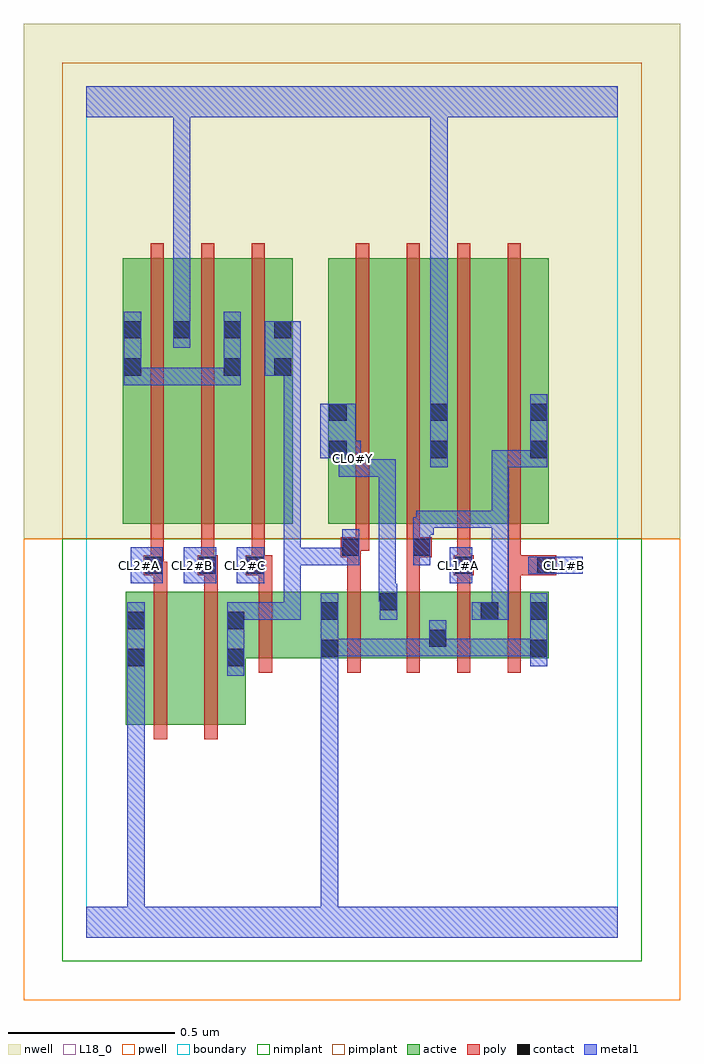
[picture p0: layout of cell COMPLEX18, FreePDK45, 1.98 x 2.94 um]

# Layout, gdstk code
import gdstk
lib = gdstk.Library(unit=1e-6, precision=1e-09)
def R(c, l, rs):  # rectangles x0, y0, x1, y1
    for r in rs: c.add(gdstk.rectangle(r[:2], r[2:], *l))
def A(c, l, x, y, w, h, nx, ny, dx, dy):  # array of equal rectangles
    R(c, l, [(x+i*dx, y+j*dy, x+i*dx+w, y+j*dy+h) for i in range(nx) for j in range(ny)])
active = (1, 0)
pwell = (2, 0)
nwell = (3, 0)
nimplant = (4, 0)
pimplant = (5, 0)
poly = (9, 0)
contact = (10, 0)
metal1 = (11, 0)
L18_0 = (18, 0)
boundary = (235, 0)

complex18 = lib.new_cell('COMPLEX18')
R(complex18, active, [(0.12,0.64,0.3,1.04), (0.3,0.64,0.48,1.04), (0.42,0.64,0.48,1.04), (0.12,0.756,0.18,1.04), (0.42,0.84,0.762,1.04), (0.702,0.84,0.94,1.04), (0.702,0.84,0.762,1.012), (0.88,0.84,1.088,1.04), (1.028,0.84,1.088,1.04), (1.028,0.84,1.244,1.04), (1.184,0.84,1.244,1.04), (1.184,0.84,1.392,1.04), (1.332,0.84,1.392,1.04), (0.88,0.956,0.94,1.04), (0.11,1.244,0.17,2.044), (0.11,1.244,0.318,2.044), (0.258,1.244,0.47,2.044), (0.41,1.244,0.622,2.044), (0.562,1.244,0.622,2.044), (0.728,1.244,0.788,2.044), (0.728,1.244,0.908,2.044), (0.908,1.244,1.092,2.044), (1.032,1.244,1.212,2.044), (1.212,1.244,1.392,2.044), (1.332,1.244,1.392,2.044), (1.032,1.366,1.092,2.044), (0.258,1.686,0.318,2.044), (0.41,1.686,0.47,2.044)])
R(complex18, pwell, [(-0.188,-0.188,1.788,1.2)])
R(complex18, nwell, [(-0.188,1.2,1.788,2.748)])
R(complex18, nimplant, [(-0.072,-0.072,1.672,1.2)])
R(complex18, pimplant, [(-0.072,1.2,1.672,2.632)])
A(complex18, poly, 0.964, 0.796, 0.04, 0.288, 3, 1, 0.152, 0)
A(complex18, poly, 0.194, 1.11, 0.04, 0.13, 3, 1, 0.152, 0)
A(complex18, poly, 0.194, 1.2, 0.04, 0.888, 3, 1, 0.152, 0)
A(complex18, poly, 0.812, 1.2, 0.04, 0.888, 4, 1, 0.152, 0)
R(complex18, poly, [(0.204,0.596,0.244,1.084), (0.356,0.596,0.396,1.084), (0.52,0.796,0.56,1.084), (0.786,0.796,0.826,1.084), (0.204,1.044,0.244,1.13), (0.356,1.044,0.396,1.13), (0.52,1.044,0.56,1.13), (0.786,1.044,0.826,1.184), (0.964,1.044,1.004,1.184), (1.116,1.044,1.156,1.13), (1.268,1.044,1.308,1.13), (0.174,1.09,0.234,1.15), (0.194,1.09,0.234,1.13), (0.194,1.09,0.244,1.13), (0.336,1.09,0.396,1.15), (0.48,1.09,0.56,1.15), (1.106,1.09,1.166,1.15), (1.268,1.09,1.414,1.15), (0.346,1.11,0.386,1.15), (0.346,1.11,0.386,1.15), (0.498,1.11,0.538,1.15), (0.498,1.11,0.538,1.15), (1.116,1.11,1.156,1.24), (1.116,1.11,1.156,1.15), (1.116,1.11,1.156,1.15), (1.268,1.11,1.308,1.24), (1.268,1.11,1.308,1.15), (1.268,1.11,1.308,1.15), (0.766,1.144,0.826,1.204), (0.964,1.144,1.004,1.184), (0.964,1.144,1.004,1.184), (0.964,1.144,1.04,1.204), (0.786,1.164,0.826,1.204), (0.786,1.164,0.852,1.204), (0.812,1.164,0.852,1.24), (0.964,1.164,1.004,1.24)])
A(complex18, contact, 0.262, 1.802, 0.052, 0.052, 3, 1, 0.152, 0)
R(complex18, contact, [(0.124,0.816,0.176,0.868), (0.424,0.816,0.476,0.868), (0.706,0.844,0.758,0.896), (1.336,0.844,1.388,0.896), (1.032,0.874,1.084,0.926), (0.124,0.928,0.176,0.98), (0.424,0.928,0.476,0.98), (0.706,0.956,0.758,1.008), (1.188,0.956,1.24,1.008), (1.336,0.956,1.388,1.008), (0.884,0.984,0.936,1.036), (0.178,1.094,0.23,1.146), (0.34,1.094,0.392,1.146), (0.484,1.094,0.536,1.146), (1.11,1.094,1.162,1.146), (1.358,1.094,1.41,1.146), (0.77,1.148,0.822,1.2), (0.984,1.148,1.036,1.2), (0.732,1.442,0.784,1.494), (1.036,1.442,1.088,1.494), (1.336,1.442,1.388,1.494), (0.732,1.554,0.784,1.606), (1.036,1.554,1.088,1.606), (1.336,1.554,1.388,1.606), (0.114,1.69,0.166,1.742), (0.414,1.69,0.466,1.742), (0.566,1.69,0.618,1.742), (0.114,1.802,0.166,1.854)])
R(complex18, metal1, [(0,0,1.6,0.092), (0.124,0.04,0.176,0.092), (0.124,0.04,0.176,0.092), (0.124,0.04,0.176,0.092), (0.124,0.04,0.176,0.092), (0.124,0.04,0.176,0.092), (0.124,0.04,0.176,0.092), (0.124,0.04,0.176,0.092), (0.124,0.04,0.176,0.092), (0.124,0.04,0.176,0.092), (0.124,0.04,0.176,0.092), (0.124,0.04,0.176,0.84), (0.706,0.04,0.758,0.092), (0.706,0.04,0.758,0.092), (0.706,0.04,0.758,0.092), (0.706,0.04,0.758,0.092), (0.706,0.04,0.758,0.868), (0.124,0.788,0.176,0.84), (0.124,0.788,0.176,0.84), (0.124,0.788,0.176,1.008), (0.424,0.788,0.476,1.008), (0.706,0.816,0.758,0.868), (0.706,0.816,0.758,0.868), (0.706,0.816,0.758,0.868), (0.706,0.816,0.758,0.868), (0.706,0.816,0.758,0.868), (0.706,0.816,0.758,0.868), (0.706,0.816,0.758,0.868), (0.706,0.816,0.758,0.868), (0.706,0.816,0.758,0.868), (0.706,0.816,0.758,0.868), (0.706,0.816,0.758,0.868), (0.706,0.816,0.758,0.868), (0.706,0.816,0.758,1.036), (1.336,0.816,1.388,1.036), (0.706,0.846,0.758,0.898), (0.706,0.846,0.758,0.898), (0.706,0.846,0.936,0.898), (0.884,0.846,0.936,0.898), (0.884,0.846,0.936,0.898), (0.884,0.846,0.936,0.898), (0.884,0.846,1.084,0.898), (1.032,0.846,1.194,0.898), (1.032,0.846,1.084,0.954), (1.142,0.846,1.194,0.898), (1.142,0.846,1.194,0.898), (1.142,0.846,1.194,0.898), (1.142,0.846,1.388,0.898), (1.336,0.846,1.388,0.898), (1.336,0.846,1.388,0.898), (0.424,0.956,0.646,1.008), (0.594,0.956,0.646,1.008), (0.594,0.956,0.646,1.008), (0.594,0.956,0.646,1.008), (0.594,0.956,0.646,1.172), (0.884,0.956,0.936,1.064), (1.16,0.956,1.272,1.008), (1.22,0.956,1.272,1.008), (1.22,0.956,1.272,1.008), (1.22,0.956,1.272,1.284), (0.88,1.012,0.932,1.438), (0.88,1.012,0.936,1.064), (0.884,1.012,0.936,1.064), (0.134,1.066,0.23,1.174), (0.294,1.066,0.392,1.174), (0.454,1.066,0.536,1.174), (1.094,1.066,1.162,1.174), (1.33,1.094,1.494,1.146), (0.594,1.12,0.646,1.172), (0.594,1.12,0.646,1.172), (0.594,1.12,0.646,1.172), (0.594,1.12,0.822,1.172), (0.594,1.12,0.646,1.742), (0.77,1.12,0.822,1.172), (0.77,1.12,0.822,1.172), (0.77,1.12,0.822,1.228), (0.984,1.12,1.036,1.264), (0.984,1.212,1.046,1.264), (0.994,1.212,1.046,1.284), (0.994,1.232,1.272,1.284), (1.22,1.232,1.272,1.284), (1.22,1.232,1.272,1.284), (1.22,1.232,1.272,1.284), (1.22,1.232,1.272,1.466), (0.76,1.386,0.826,1.494), (0.774,1.386,0.826,1.438), (0.774,1.386,0.826,1.438), (0.774,1.386,0.932,1.438), (0.88,1.386,0.932,1.438), (1.036,1.414,1.088,1.634), (1.22,1.414,1.272,1.466), (1.22,1.414,1.388,1.466), (1.336,1.414,1.388,1.466), (1.336,1.414,1.388,1.466), (1.336,1.414,1.388,1.634), (0.704,1.442,0.812,1.606), (0.76,1.442,0.812,1.494), (1.036,1.582,1.088,1.634), (1.036,1.582,1.088,1.634), (1.036,1.582,1.088,1.634), (1.036,1.582,1.088,1.634), (1.036,1.582,1.088,1.634), (1.036,1.582,1.088,1.634), (1.036,1.582,1.088,2.52), (0.114,1.662,0.166,1.714), (0.114,1.662,0.166,1.714), (0.114,1.662,0.166,1.882), (0.114,1.662,0.356,1.714), (0.304,1.662,0.356,1.714), (0.304,1.662,0.356,1.714), (0.304,1.662,0.356,1.714), (0.304,1.662,0.466,1.714), (0.414,1.662,0.466,1.882), (0.538,1.69,0.646,1.854), (0.262,1.774,0.314,1.882), (0.262,1.83,0.314,2.52), (0,2.468,1.6,2.56), (0.262,2.468,0.314,2.52), (0.262,2.468,0.314,2.52), (0.262,2.468,0.314,2.52), (0.262,2.468,0.314,2.52), (0.262,2.468,0.314,2.52), (0.262,2.468,0.314,2.52), (0.262,2.468,0.314,2.52), (0.262,2.468,0.314,2.52), (1.036,2.468,1.088,2.52), (1.036,2.468,1.088,2.52)])
A(complex18, L18_0, 0.134, 1.094, 0.052, 0.052, 3, 1, 0.16, 0)
R(complex18, L18_0, [(0,0,1.6,0.092), (0.124,0.04,0.176,0.092), (0.124,0.04,0.176,0.092), (0.124,0.04,0.176,0.092), (0.124,0.04,0.176,0.092), (0.124,0.04,0.176,0.092), (0.124,0.04,0.176,0.092), (0.124,0.04,0.176,0.092), (0.124,0.04,0.176,0.092), (0.124,0.04,0.176,0.092), (0.124,0.04,0.176,0.092), (0.124,0.04,0.176,0.84), (0.706,0.04,0.758,0.092), (0.706,0.04,0.758,0.092), (0.706,0.04,0.758,0.092), (0.706,0.04,0.758,0.092), (0.706,0.04,0.758,0.868), (0.124,0.788,0.176,0.84), (0.124,0.788,0.176,0.84), (0.124,0.788,0.176,1.008), (0.706,0.816,0.758,0.868), (0.706,0.816,0.758,0.868), (0.706,0.816,0.758,0.868), (0.706,0.816,0.758,0.868), (0.706,0.816,0.758,0.868), (0.706,0.816,0.758,0.868), (0.706,0.816,0.758,0.868), (0.706,0.816,0.758,0.868), (0.706,0.816,0.758,0.868), (0.706,0.816,0.758,0.868), (0.706,0.816,0.758,0.868), (0.706,0.816,0.758,0.868), (0.706,0.816,0.758,1.036), (1.336,0.816,1.388,1.036), (0.706,0.846,0.758,0.898), (0.706,0.846,0.758,0.898), (0.706,0.846,0.936,0.898), (0.884,0.846,0.936,0.898), (0.884,0.846,0.936,0.898), (0.884,0.846,0.936,0.898), (0.884,0.846,1.084,0.898), (1.032,0.846,1.084,0.954), (1.032,0.846,1.194,0.898), (1.142,0.846,1.194,0.898), (1.142,0.846,1.194,0.898), (1.142,0.846,1.194,0.898), (1.142,0.846,1.388,0.898), (1.336,0.846,1.388,0.898), (1.336,0.846,1.388,0.898), (0.884,0.956,0.936,1.064), (0.88,1.012,0.936,1.064), (0.88,1.012,0.932,1.438), (0.884,1.012,0.936,1.064), (0.134,1.066,0.23,1.174), (0.294,1.066,0.392,1.174), (0.454,1.066,0.536,1.174), (1.094,1.066,1.162,1.174), (1.094,1.094,1.146,1.146), (1.33,1.094,1.494,1.146), (1.414,1.094,1.466,1.146), (0.76,1.386,0.826,1.494), (0.774,1.386,0.826,1.438), (0.774,1.386,0.826,1.438), (0.774,1.386,0.932,1.438), (0.88,1.386,0.932,1.438), (0.774,1.414,0.826,1.466), (1.036,1.414,1.088,1.634), (0.704,1.442,0.812,1.606), (0.76,1.442,0.812,1.494), (1.036,1.582,1.088,1.634), (1.036,1.582,1.088,1.634), (1.036,1.582,1.088,1.634), (1.036,1.582,1.088,1.634), (1.036,1.582,1.088,1.634), (1.036,1.582,1.088,1.634), (1.036,1.582,1.088,2.52), (0.262,1.774,0.314,1.882), (0.262,1.83,0.314,2.52), (0,2.468,1.6,2.56), (0.262,2.468,0.314,2.52), (0.262,2.468,0.314,2.52), (0.262,2.468,0.314,2.52), (0.262,2.468,0.314,2.52), (0.262,2.468,0.314,2.52), (0.262,2.468,0.314,2.52), (0.262,2.468,0.314,2.52), (0.262,2.468,0.314,2.52), (1.036,2.468,1.088,2.52), (1.036,2.468,1.088,2.52)])
R(complex18, boundary, [(0,0,1.6,2.56)])
complex18.add(gdstk.Label('CL0#Y', (0.8,1.44), layer=11, texttype=0))
complex18.add(gdstk.Label('CL1#A', (1.12,1.12), layer=11, texttype=0))
complex18.add(gdstk.Label('CL1#B', (1.44,1.12), layer=11, texttype=0))
complex18.add(gdstk.Label('CL2#A', (0.16,1.12), layer=11, texttype=0))
complex18.add(gdstk.Label('CL2#B', (0.32,1.12), layer=11, texttype=0))
complex18.add(gdstk.Label('CL2#C', (0.48,1.12), layer=11, texttype=0))

lib.write_gds('COMPLEX18.gds')
